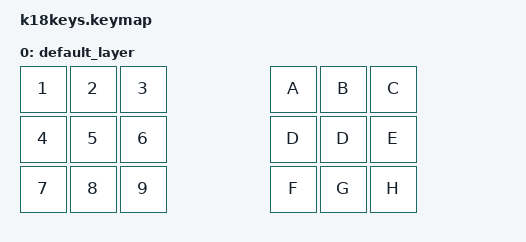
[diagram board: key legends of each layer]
/*
 * Copyright (c) 2020 The ZMK Contributors
 *
 * SPDX-License-Identifier: MIT
 */
 #include <behaviors.dtsi>
#include <dt-bindings/zmk/keys.h>
#include <dt-bindings/zmk/bt.h>

/ {
    keymap {
        compatible = "zmk,keymap";
        default_layer {
            bindings = <
                       &kp N1     &kp N2     &kp N3                                                     &kp A      &kp B      &kp C           
                       &kp N4     &kp N5     &kp N6                                                     &kp D      &kp D      &kp E           
            &kp N7                                      &kp N8     &kp N9         &kp F      &kp G                                       &kp H
            >;
        };
    };
};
